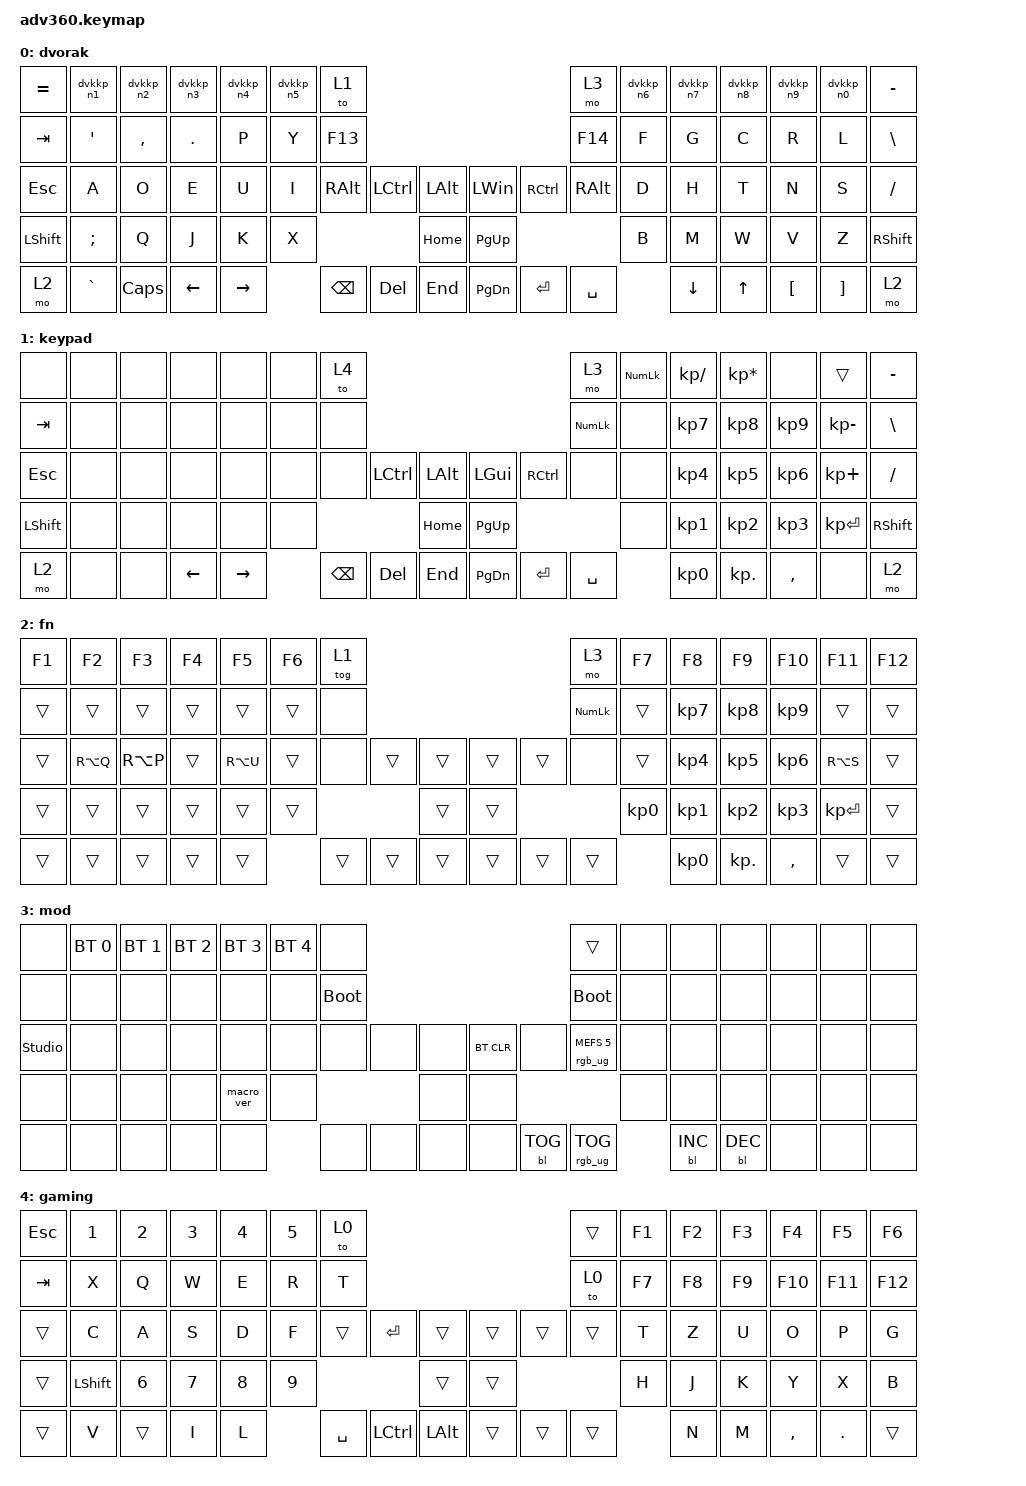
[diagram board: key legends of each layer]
#include <dt-bindings/zmk/stp.h>
#include <behaviors.dtsi>
#include <dt-bindings/zmk/backlight.h>
#include <dt-bindings/zmk/bt.h>
#include <dt-bindings/zmk/keys.h>
#include <dt-bindings/zmk/rgb.h>

&caps_word {
    continue-list = <
        UNDERSCORE
        MINUS
        BACKSPACE
        DELETE
        N1 N2 N3 N4 N5
        N6 N7 N8 N9 N0
    >;
};

/ {
    behaviors {
        #include "macros.dtsi"
      #include "version.dtsi"

        hm: homerow_mods {
            compatible = "zmk,behavior-hold-tap";
            label = "HOMEROW_MODS";
            #binding-cells = <2>;
            tapping-term-ms = <200>;
            flavor = "tap-unless-interrupted";
            bindings = <&kp>, <&kp>;
        };

        dvkkp_n1: dvkkp_n1 {
            compatible = "zmk,behavior-mod-morph";
            label = "dvkkp_n1";
            bindings = <&kp EXCLAMATION>, <&kp NUMBER_1>;

            #binding-cells = <0>;
            mods = <(MOD_LSFT|MOD_RSFT)>;
            keep-mods = <(MOD_RCTL|MOD_LCTL|MOD_LGUI|MOD_RGUI|MOD_RALT|MOD_LALT)>;
        };

        dvkkp_n2: dvkkp_n2 {
            compatible = "zmk,behavior-mod-morph";
            label = "dvkkp_n2";
            bindings = <&kp AT_SIGN>, <&kp NUMBER_2>;

            #binding-cells = <0>;
            mods = <(MOD_LSFT|MOD_RSFT)>;
            keep-mods = <(MOD_RCTL|MOD_LCTL|MOD_LGUI|MOD_RGUI|MOD_RALT|MOD_LALT)>;
        };

        dvkkp_n3: dvkkp_n3 {
            compatible = "zmk,behavior-mod-morph";
            label = "dvkkp_n3";
            bindings = <&kp HASH>, <&kp NUMBER_3>;

            #binding-cells = <0>;
            mods = <(MOD_LSFT|MOD_RSFT)>;
            keep-mods = <(MOD_RCTL|MOD_LCTL|MOD_LGUI|MOD_RGUI|MOD_RALT|MOD_LALT)>;
        };

        dvkkp_n4: dvkkp_n4 {
            compatible = "zmk,behavior-mod-morph";
            label = "dvkkp_n4";
            bindings = <&kp DOLLAR>, <&kp NUMBER_4>;

            #binding-cells = <0>;
            mods = <(MOD_LSFT|MOD_RSFT)>;
            keep-mods = <(MOD_RCTL|MOD_LCTL|MOD_LGUI|MOD_RGUI|MOD_RALT|MOD_LALT)>;
        };

        dvkkp_n5: dvkkp_n5 {
            compatible = "zmk,behavior-mod-morph";
            label = "dvkkp_n5";
            bindings = <&kp PERCENT>, <&kp NUMBER_5>;

            #binding-cells = <0>;
            mods = <(MOD_LSFT|MOD_RSFT)>;
            keep-mods = <(MOD_RCTL|MOD_LCTL|MOD_LGUI|MOD_RGUI|MOD_RALT|MOD_LALT)>;
        };

        dvkkp_n6: dvkkp_n6 {
            compatible = "zmk,behavior-mod-morph";
            label = "dvkkp_n6";
            bindings = <&kp CARET>, <&kp NUMBER_6>;

            #binding-cells = <0>;
            mods = <(MOD_RSFT|MOD_LSFT)>;
            keep-mods = <(MOD_RCTL|MOD_LCTL|MOD_LGUI|MOD_RGUI|MOD_RALT|MOD_LALT)>;
        };

        dvkkp_n7: dvkkp_n7 {
            compatible = "zmk,behavior-mod-morph";
            label = "dvkkp_n7";
            bindings = <&kp AMPERSAND>, <&kp NUMBER_7>;

            #binding-cells = <0>;
            mods = <(MOD_RSFT|MOD_LSFT)>;
            keep-mods = <(MOD_RCTL|MOD_LCTL|MOD_LGUI|MOD_RGUI|MOD_RALT|MOD_LALT)>;
        };

        dvkkp_n8: dvkkp_n8 {
            compatible = "zmk,behavior-mod-morph";
            label = "dvkkp_n8";
            bindings = <&kp ASTERISK>, <&kp NUMBER_8>;

            #binding-cells = <0>;
            mods = <(MOD_RSFT|MOD_LSFT)>;
            keep-mods = <(MOD_RCTL|MOD_LCTL|MOD_LGUI|MOD_RGUI|MOD_RALT|MOD_LALT)>;
        };

        dvkkp_n9: dvkkp_n9 {
            compatible = "zmk,behavior-mod-morph";
            label = "dvkkp_n9";
            bindings = <&kp LEFT_PARENTHESIS>, <&kp NUMBER_9>;

            #binding-cells = <0>;
            mods = <(MOD_RSFT|MOD_LSFT)>;
            keep-mods = <(MOD_RCTL|MOD_LCTL|MOD_LGUI|MOD_RGUI|MOD_RALT|MOD_LALT)>;
        };

        dvkkp_n0: dvkkp_n0 {
            compatible = "zmk,behavior-mod-morph";
            label = "dvkkp_n0";
            bindings = <&kp RIGHT_PARENTHESIS>, <&kp NUMBER_0>;

            #binding-cells = <0>;
            mods = <(MOD_RSFT|MOD_LSFT)>;
            keep-mods = <(MOD_RCTL|MOD_LCTL|MOD_LGUI|MOD_RGUI|MOD_RALT|MOD_LALT)>;
        };

        ht_CapsWord: ht_CapsWord {
            compatible = "zmk,behavior-hold-tap";
            label = "CAPS_WORD_HOLD_TAP";
            #binding-cells = <2>;
            tapping-term-ms = <200>;
            flavor = "balanced";
            bindings = <&kp>, <&caps_word>;

            require-prior-idle-ms = <100>;
        };
    };
    combos {
        compatible = "zmk,combos";

        combo_caps_word {
            timeout-ms = <100>;
            key-positions = <46 59>;
            bindings = <&caps_word>;
        };
    };

    keymap {
        compatible = "zmk,keymap";

        dvorak {
            display-name = "dvorak";
            bindings = <
&kp EQUAL  &dvkkp_n1  &dvkkp_n2  &dvkkp_n3  &dvkkp_n4  &dvkkp_n5  &to 1                                                            &mo 3          &dvkkp_n6  &dvkkp_n7  &dvkkp_n8     &dvkkp_n9  &dvkkp_n0  &kp MINUS
&kp TAB    &kp APOS   &kp COMMA  &kp DOT    &kp P      &kp Y      &kp F13                                                          &kp F14        &kp F      &kp G      &kp C         &kp R      &kp L      &kp BSLH
&kp ESC    &kp A      &kp O      &kp E      &kp U      &kp I      &kp RIGHT_ALT  &kp LCTRL  &kp LALT      &kp LEFT_WIN  &kp RCTRL  &kp RIGHT_ALT  &kp D      &kp H      &kp T         &kp N      &kp S      &kp FSLH
&kp LSHFT  &kp SEMI   &kp Q      &kp J      &kp K      &kp X                                &kp HOME      &kp PG_UP                               &kp B      &kp M      &kp W         &kp V      &kp Z      &kp RSHFT
&mo 2      &kp GRAVE  &kp CAPS   &kp LEFT   &kp RIGHT             &kp BSPC       &kp DEL    &kp END       &kp PG_DN     &kp ENTER  &kp SPACE                 &kp DOWN   &kp UP_ARROW  &kp LBKT   &kp RBKT   &mo 2
            >;
        };

        keypad {
            display-name = "keypad";
            bindings = <
&none      &none  &none  &none     &none      &none  &to 4                                                    &mo 3           &kp KP_NUMLOCK  &kp KP_DIVIDE    &kp KP_MULTIPLY  &none      &trans        &kp MINUS
&kp TAB    &none  &none  &none     &none      &none  &none                                                    &kp KP_NUMLOCK  &none           &kp KP_N7        &kp KP_N8        &kp KP_N9  &kp KP_MINUS  &kp BSLH
&kp ESC    &none  &none  &none     &none      &none  &none     &kp LCTRL  &kp LALT      &kp LGUI   &kp RCTRL  &none           &none           &kp KP_N4        &kp KP_N5        &kp KP_N6  &kp KP_PLUS   &kp FSLH
&kp LSHFT  &none  &none  &none     &none      &none                       &kp HOME      &kp PG_UP                             &none           &kp KP_N1        &kp KP_N2        &kp KP_N3  &kp KP_ENTER  &kp RSHFT
&mo 2      &none  &none  &kp LEFT  &kp RIGHT         &kp BSPC  &kp DEL    &kp END       &kp PG_DN  &kp ENTER  &kp SPACE                       &kp KP_NUMBER_0  &kp KP_DOT       &kp COMMA  &none         &mo 2
            >;
        };

        fn {
            display-name = "fn";
            bindings = <
&kp F1  &kp F2     &kp F3     &kp F4  &kp F5     &kp F6  &tog 1                                      &mo 3           &kp F7           &kp F8           &kp F9           &kp F10          &kp F11       &kp F12
&trans  &trans     &trans     &trans  &trans     &trans  &none                                       &kp KP_NUMLOCK  &trans           &kp KP_NUMBER_7  &kp KP_NUMBER_8  &kp KP_NUMBER_9  &trans        &trans
&trans  &kp RA(Q)  &kp RA(P)  &trans  &kp RA(U)  &trans  &none   &trans  &trans      &trans  &trans  &none           &trans           &kp KP_NUMBER_4  &kp KP_NUMBER_5  &kp KP_NUMBER_6  &kp RA(S)     &trans
&trans  &trans     &trans     &trans  &trans     &trans                  &trans      &trans                          &kp KP_NUMBER_0  &kp KP_NUMBER_1  &kp KP_NUMBER_2  &kp KP_NUMBER_3  &kp KP_ENTER  &trans
&trans  &trans     &trans     &trans  &trans             &trans  &trans  &trans      &trans  &trans  &trans                           &kp KP_NUMBER_0  &kp KP_DOT       &kp COMMA        &trans        &trans
            >;
        };

        mod {
            display-name = "mod";
            bindings = <
&none           &bt BT_SEL 0  &bt BT_SEL 1  &bt BT_SEL 2  &bt BT_SEL 3  &bt BT_SEL 4  &none                                                  &trans                  &none  &none       &none       &none  &none  &none
&none           &none         &none         &none         &none         &none         &bootloader                                            &bootloader             &none  &none       &none       &none  &none  &none
&studio_unlock  &none         &none         &none         &none         &none         &none        &none  &none      &bt BT_CLR  &none       &rgb_ug RGB_MEFS_CMD 5  &none  &none       &none       &none  &none  &none
&none           &none         &none         &none         &macro_ver    &none                             &none      &none                                           &none  &none       &none       &none  &none  &none
&none           &none         &none         &none         &none                       &none        &none  &none      &none       &bl BL_TOG  &rgb_ug RGB_TOG                &bl BL_INC  &bl BL_DEC  &none  &none  &none
            >;
        };

        gaming {
            display-name = "gaming";
            bindings = <
&kp ESC  &kp N1     &kp N2  &kp N3  &kp N4  &kp N5  &to 0                                               &trans  &kp F1  &kp F2  &kp F3  &kp F4     &kp F5   &kp F6
&kp TAB  &kp X      &kp Q   &kp W   &kp E   &kp R   &kp T                                               &to 0   &kp F7  &kp F8  &kp F9  &kp F10    &kp F11  &kp F12
&trans   &kp C      &kp A   &kp S   &kp D   &kp F   &trans     &kp ENTER  &trans        &trans  &trans  &trans  &kp T   &kp Z   &kp U   &kp O      &kp P    &kp G
&trans   &kp LSHFT  &kp N6  &kp N7  &kp N8  &kp N9                        &trans        &trans                  &kp H   &kp J   &kp K   &kp Y      &kp X    &kp B
&trans   &kp V      &trans  &kp I   &kp L           &kp SPACE  &kp LCTRL  &kp LALT      &trans  &trans  &trans          &kp N   &kp M   &kp COMMA  &kp DOT  &trans
            >;
        };
    };
};
